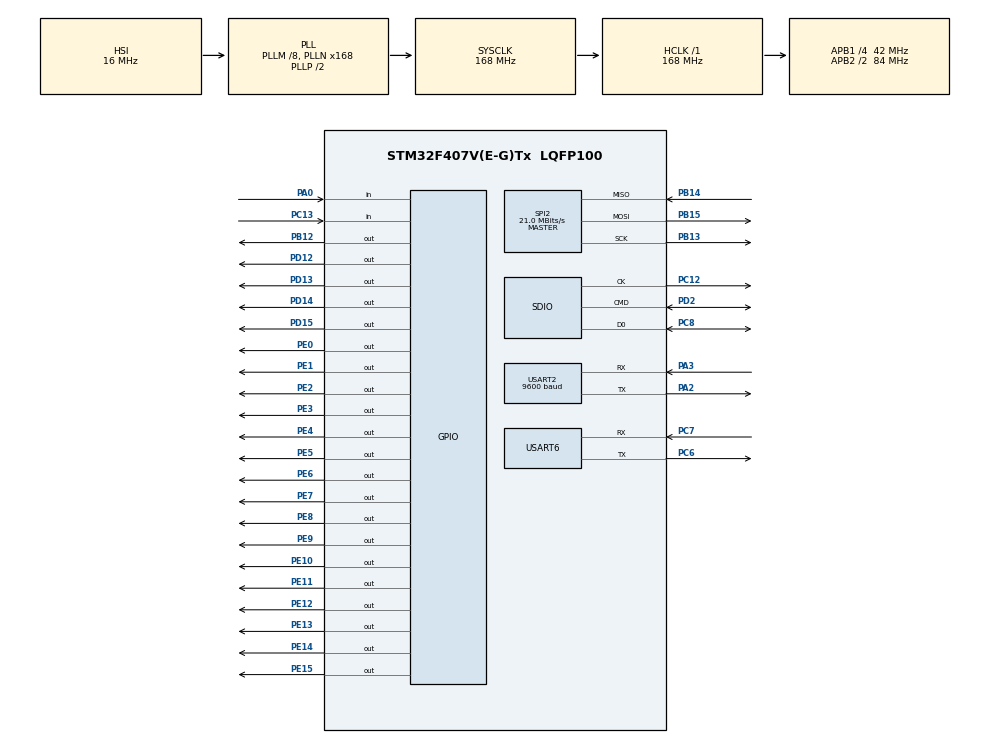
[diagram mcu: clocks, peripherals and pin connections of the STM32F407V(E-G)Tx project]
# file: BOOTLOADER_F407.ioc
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Mcu.Family=STM32F4
Mcu.Name=STM32F407V(E-G)Tx
Mcu.Package=LQFP100
NVIC.PriorityGroup=NVIC_PRIORITYGROUP_4
NVIC.USART6_IRQn=true\:0\:0\:false\:false\:true\:true\:true
PA0-WKUP.Signal=GPIO_Input
PA13.Mode=Serial_Wire
PA13.Signal=SYS_JTMS-SWDIO
PA14.Mode=Serial_Wire
PA14.Signal=SYS_JTCK-SWCLK
PA2.Mode=Asynchronous
PA2.Signal=USART2_TX
PA3.Mode=Asynchronous
PA3.Signal=USART2_RX
PB12.Signal=GPIO_Output
PB13.Mode=Full_Duplex_Master
PB13.Signal=SPI2_SCK
PB14.Mode=Full_Duplex_Master
PB14.Signal=SPI2_MISO
PB15.Mode=Full_Duplex_Master
PB15.Signal=SPI2_MOSI
PC12.Mode=SD_1_bit
PC12.Signal=SDIO_CK
PC13-ANTI_TAMP.GPIO_PuPd=GPIO_NOPULL
PC13-ANTI_TAMP.Signal=GPIO_Input
PC6.Mode=Asynchronous
PC6.Signal=USART6_TX
PC7.Mode=Asynchronous
PC7.Signal=USART6_RX
PC8.Mode=SD_1_bit
PC8.Signal=SDIO_D0
PD12.Signal=GPIO_Output
PD13.Signal=GPIO_Output
PD14.Signal=GPIO_Output
PD15.Signal=GPIO_Output
PD2.Mode=SD_1_bit
PD2.Signal=SDIO_CMD
PE0.Signal=GPIO_Output
PE1.Signal=GPIO_Output
PE10.Signal=GPIO_Output
PE11.Signal=GPIO_Output
PE12.Signal=GPIO_Output
PE13.Signal=GPIO_Output
PE14.Signal=GPIO_Output
PE15.Signal=GPIO_Output
PE2.Signal=GPIO_Output
PE3.Signal=GPIO_Output
PE4.Signal=GPIO_Output
PE5.Signal=GPIO_Output
PE6.Signal=GPIO_Output
PE7.Signal=GPIO_Output
PE8.Signal=GPIO_Output
PE9.Signal=GPIO_Output
PH0-OSC_IN.Mode=HSE-External-Oscillator
PH0-OSC_IN.Signal=RCC_OSC_IN
PH1-OSC_OUT.Mode=HSE-External-Oscillator
PH1-OSC_OUT.Signal=RCC_OSC_OUT
ProjectManager.HeapSize=0x200
ProjectManager.StackSize=0x400
ProjectManager.TargetToolchain=STM32CubeIDE
RCC.48MHZClocksFreq_Value=84000000
RCC.AHBFreq_Value=168000000
RCC.APB1CLKDivider=RCC_HCLK_DIV4
RCC.APB1Freq_Value=42000000
RCC.APB1TimFreq_Value=84000000
RCC.APB2CLKDivider=RCC_HCLK_DIV2
RCC.APB2Freq_Value=84000000
RCC.APB2TimFreq_Value=168000000
RCC.CortexFreq_Value=168000000
RCC.HCLKFreq_Value=168000000
RCC.HSE_VALUE=8000000
RCC.HSI_VALUE=16000000
RCC.LSE_VALUE=32768
RCC.PLLM=8
RCC.PLLN=168
RCC.SYSCLKFreq_VALUE=168000000
RCC.SYSCLKSource=RCC_SYSCLKSOURCE_PLLCLK
RCC.VCOOutputFreq_Value=336000000
SDIO.ClockDiv=2
SPI2.CalculateBaudRate=21.0 MBits/s
SPI2.Direction=SPI_DIRECTION_2LINES
SPI2.Mode=SPI_MODE_MASTER
SPI2.VirtualType=VM_MASTER
TIM1.Prescaler=33600-1
USART2.BaudRate=9600
USART2.VirtualMode=VM_ASYNC
USART6.VirtualMode=VM_ASYNC
VP_FATFS_VS_SDIO.Mode=SDIO
VP_TIM1_VS_ClockSourceINT.Mode=Internal
board=custom

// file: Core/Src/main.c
/* USER CODE BEGIN Header */
/**
  ******************************************************************************
  * @file           : main.c
  * @brief          : Main program body
  ******************************************************************************
  * @attention
  *
  * Copyright (c) 2022 STMicroelectronics.
  * All rights reserved.
  *
  * This software is licensed under terms that can be found in the LICENSE file
  * in the root directory of this software component.
  * If no LICENSE file comes with this software, it is provided AS-IS.
  *
  ******************************************************************************
  */
/* USER CODE END Header */
#include "main.h"
#include "fatfs.h"

/* USER CODE BEGIN Includes */
#include "stdio.h"
#include "string.h"
#include "ed25519.h"
#include "sha3.h"
#include "ge.h"
#include "sc.h"
#include "Frame.h"
#include "My_SDCard.h"
#include "Ex_Flash.h"
#include "W25Qxx.h"
/* USER CODE END Includes */

SD_HandleTypeDef hsd;

SPI_HandleTypeDef hspi2;

TIM_HandleTypeDef htim1;

UART_HandleTypeDef huart2;
UART_HandleTypeDef huart6;

void SystemClock_Config(void);
static void MX_GPIO_Init(void);
static void MX_USART6_UART_Init(void);
static void MX_TIM1_Init(void);
static void MX_SDIO_SD_Init(void);
static void MX_USART2_UART_Init(void);
static void MX_SPI2_Init(void);

/* USER CODE BEGIN 0 */
void Update_Signature(Certificate *cert, uint8_t* signature){
	for(uint8_t index = 0; index < 64; index++){
		cert->signature[index] = signature[index];
	}
}

void Update_Publickey(Certificate *cert, uint8_t* publickey){
	for(uint8_t index = 0;index < 32; index++){
		cert->publickey[index] = publickey[index];
	}
}

void Update_HashValue(Certificate *cert, uint8_t* hashvalue){
	for(uint8_t index = 0;index < 32; index++){
			cert->hash[index] = hashvalue[index];
	}
}

void Update_BootloaderCert(uint8_t* signature, uint8_t* publickey, uint8_t* hashvalue){
	Update_Signature(&Bootloader_Cert, signature);
	Update_Publickey(&Bootloader_Cert, publickey);
	Update_HashValue(&Bootloader_Cert, hashvalue);
}

void Update_Application1Cert(uint8_t* signature, uint8_t* publickey, uint8_t* hashvalue){
	Update_Signature(&Application1_Cert, signature);
	Update_Publickey(&Application1_Cert, publickey);
	Update_HashValue(&Application1_Cert, hashvalue);
}

void Update_Application2Cert(uint8_t* signature, uint8_t* publickey, uint8_t* hashvalue){
	Update_Signature(&Application2_Cert, signature);
	Update_Publickey(&Application2_Cert, publickey);
	Update_HashValue(&Application2_Cert, hashvalue);
}

static void goto_application(uint32_t slotadd)
{
//  printf("Gonna Jump to Application\r\n");

  void (*app_reset_handler)(void) = (void*)(*((volatile uint32_t*) (slotadd + 4U)));

//  __set_MSP(*(volatile uint32_t*) 0x08020000);

  // Turn OFF the Green Led to tell the user that Bootloader is not running
//  HAL_GPIO_WritePin(GPIOB, GPIO_PIN_0, GPIO_PIN_RESET );    //Green LED OFF
  app_reset_handler();    //call the app reset handler
}

uint8_t rx_buf[3] = {0,};
uint8_t count = 0;
uint8_t flag  = 0;
uint8_t rx = 0;
uint8_t rx_header[15] = {0,};
uint8_t buftest[] = "NGUYEN VAN NHI";
uint32_t crc = 0;

void HAL_UART_RxCpltCallback(UART_HandleTypeDef *huart){
	if(huart->Instance == huart6.Instance){
			if(!strncmp("OTA",(char*)rx_buf, 3)){
				flag = 1;
			}
			else{
				HAL_UART_Receive_IT(&huart6, rx_buf, 3);
			}
			memset(rx_buf, 0, 3);
	}
}

uint8_t md[64] = {0,};
uint32_t size = 0;
uint32_t round = 0;
uint8_t signature[64], publickey[32], hashvalue[64];

//uint8_t valid_signature_verify_1 = 0;
//uint8_t valid_signature_verify_2 = 0;
//uint8_t valid_signature_verify_3 = 0;
//uint8_t key_exchange_correct = 0;
//uint16_t clock_create_seed = 0;
//uint16_t clock_create_keypair = 0;
//uint16_t clock_sign = 0;
//uint16_t clock_verify = 0;
//uint16_t clock_add_keypair_scalar = 0;
//uint16_t clock_add_pubkey_scalar = 0;
//uint16_t clock_key_exchange = 0;
//int i;
uint8_t read1[15] = {0,};
uint8_t read2[15] = {0,};
uint8_t read3[15] = {0,};
uint8_t read4[15] = {0,};
uint8_t read5[15] = {0,};
uint8_t buffer1[160] = {0,};
uint8_t buffer2[160] = {0,};
uint8_t buffer3[160] = {0,};
//uint8_t buffer[100] = {0,};
/* USER CODE END 0 */

int main(void)
{

  /* MCU Configuration--------------------------------------------------------*/

  /* Reset of all peripherals, Initializes the Flash interface and the Systick. */
  HAL_Init();

  /* Configure the system clock */
  SystemClock_Config();

  /* Initialize all configured peripherals */
  MX_GPIO_Init();
  MX_USART6_UART_Init();
  MX_TIM1_Init();
  MX_SDIO_SD_Init();
  MX_FATFS_Init();
  MX_USART2_UART_Init();
  MX_SPI2_Init();
  /* USER CODE BEGIN 2 */
  HAL_UART_Receive_IT(&huart6, rx_buf, 3);
  HAL_TIM_Base_Start(&htim1);
  uint16_t time = 0;
  uint32_t total_time = 0;

//  Frame_WriteCfg(&Flash_Cfg);
//  goto_application(FLASH_SLOT_1_ADD);
//  HAL_GPIO_WritePin(GPIOD, GPIO_PIN_12|GPIO_PIN_13|GPIO_PIN_14|GPIO_PIN_15, GPIO_PIN_SET);
//  HAL_Delay(500);
//  goto_application(FLASH_SLOT_1_ADD);
  FATFS fatfs;
  FIL myfile;
  uint8_t buffer[100] = {0,};
//  const char *file_name = "APPLICATION_F407.bin";
//  uint8_t mode = FA_READ;
//  defFlashSlot slot = FLASH_SLOT_0;
//
//
//  HAL_GPIO_WritePin(GPIOD, GPIO_PIN_15, GPIO_PIN_SET);

//  goto_application(FLASH_SLOT_0_ADD);
//  tree_hash(&fatfs,&myfile,"abc.bin", md, &size, &round);
//  sha3(file_name,strlen(file_name), md, 64);

//  uint8_t *write1 = "NGUYEN VAN NHI";
//  uint8_t *write2 = "TRAN TAN TAI";
//  uint8_t *write3 = "TRAN TAN TUAN";
//  uint8_t *write4 = "PHAN TRUNG TIN";
//  uint8_t *write5 = "DUNG MINH TAM";
//
//  Erase(0x00000, (Erase_Type)SECTOR_ERASE);
//  HAL_Delay(10);
//
//  WriteFlash(0x000000, write1, strlen(write1));
//  WriteFlash(0x000000 + strlen(write1), write2, strlen(write2));
//  WriteFlash(0x000000 + strlen(write1) + strlen(write2), write3, strlen(write3));
//  WriteFlash(0x000000 + strlen(write1) + strlen(write2) + strlen(write3), write4, strlen(write4));
//  WriteFlash(0x000000 + strlen(write1) + strlen(write2) + strlen(write3) + strlen(write4), write5, strlen(write5));
//
//  HAL_Delay(1000);
//  ReadFlash(0x000000, read1, strlen(write1));
//  ReadFlash(0x000000 + strlen(write1), read2, strlen(write2));
//  ReadFlash(0x000000 + strlen(write1) + strlen(write2), read3, strlen(write3));
//  ReadFlash(0x000000 + strlen(write1) + strlen(write2) + strlen(write3), read4, strlen(write4));
//  ReadFlash(0x000000 + strlen(write1) + strlen(write2) + strlen(write3) + strlen(write4), read5, strlen(write5));
//  	  for(uint8_t i = 0;i<64;i++){
//  		  Bootloader_Cert.signature[i] = i + 1;
//  		  Application1_Cert.signature[i] = i + 2;
//  		  Application2_Cert.signature[i] = i + 3;
//  		  Bootloader_Cert.hash[i] = i + 4;
//  		  Application1_Cert.hash[i] = i + 5;
//  		  Application2_Cert.hash[i] = i + 6;
//  	  }
//  	  for (uint8_t i = 0;i<32;i++){
//  		  Bootloader_Cert.publickey[i] = i + 7;
//  		  Application1_Cert.publickey[i] = i + 8;
//  		  Application2_Cert.publickey[i] = i + 9;
//  	  }
//  		W25qxx_Init();
//  		W25qxx_EraseSector(1);
//  		W25qxx_WriteSector(Bootloader_Cert.signature, 1, 0, 64);
//  		W25qxx_WriteSector(Bootloader_Cert.publickey, 1, 64, 32);
//  		W25qxx_WriteSector(Bootloader_Cert.hash, 1, 96, 64);
//  		W25qxx_ReadSector(buffer1, 1, 0, 160);
//  		W25qxx_EraseSector(1);
//  		memset(buff2, 0, sizeof(buff2));
//  		W25qxx_ReadSector(buff2, 1, 0, 8);

//  uint8_t sig[64], pub[32], has[64];
//  W25qxx_Init();
//    	  for(uint8_t i = 0;i<64;i++){
//    		  sig[i] = i + 1;
//    		  has[i] = i + 2;
//
//    	  }
//    	  for (uint8_t i = 0;i<32;i++){
//    		  pub[i] = i + 3;
//    	  }
//
//    	  Update_BootloaderCert(sig, pub, has);
//  W25qxx_EraseSector(1);
//  W25qxx_WriteSector(Bootloader_Cert.signature, 1, 0, 64);
//  W25qxx_WriteSector(Bootloader_Cert.publickey, 1, 64, 32);
//  W25qxx_WriteSector(Bootloader_Cert.hash, 1, 96, 64);
//
//  W25qxx_ReadSector(buffer, 1, 0, 160);
  uint8_t sig[64], pub[32], hashval[64];

//  W25qxx_Init();
//  W25qxx_EraseSector(2);
//  read_file_and_store_into_flash(&fatfs,&myfile,"appa.bin", FA_READ, FLASH_SLOT_1, signature, publickey, hashvalue);
//  W25qxx_WriteSector(signature, 2, 0, 64);
//  W25qxx_WriteSector(publickey, 2, 64, 32);
//  W25qxx_WriteSector(hashvalue, 2, 64 + 32, 64);
//  HAL_Delay(1000);
//  W25qxx_ReadSector(signature, 2, 0, 64);
//  W25qxx_ReadSector(publickey, 2, 64, 32);
//  W25qxx_ReadSector(hashvalue, 2, 96, 64);
//  HAL_Delay(1000);
  /* USER CODE END 2 */

  /* Infinite loop */
  while (1)
  {

    /* USER CODE BEGIN 3 */
////	  HAL_GPIO_TogglePin(GPIOE, GPIO_PIN_12);
//	  if((defResetCause)Flash_Cfg.ResetCause == RESET_NORMAL){
////		  HAL_GPIO_WritePin(GPIOE, GPIO_PIN_12|GPIO_PIN_13|GPIO_PIN_14|GPIO_PIN_15, GPIO_PIN_SET);
//		  if(Flash_Cfg.FlashOnGoing == FLASH_SLOT_0) goto_application(FLASH_SLOT_0_ADD);
//		  else if(Flash_Cfg.FlashOnGoing == FLASH_SLOT_1) goto_application(FLASH_SLOT_1_ADD);
//		  else{
//
//		  }
//	  }
//	  else if((defResetCause)Flash_Cfg.ResetCause == RESET_OTA){
//		  if(flag == 1){
//			  {
//				  Flash_Cfg.ResetCause = RESET_NORMAL;
//				  if(Flash_Cfg.FlashOnGoing == FLASH_SLOT_0){
//					  HAL_GPIO_TogglePin(GPIOE, GPIO_PIN_12);
//					  if(Frame_STM32OTA(FLASH_SLOT_2) == HANDLE_OK) {
//						  Flash_Cfg.FlashOnGoing = FLASH_SLOT_1;
//						  Frame_WriteCfg(&Flash_Cfg);
//						  Frame_LoadFlash(FLASH_SLOT_1);
//						  HAL_GPIO_TogglePin(GPIOE, GPIO_PIN_12|GPIO_PIN_15);
////						  HAL_Delay(500);
//						  goto_application(FLASH_SLOT_1_ADD);
//					  }
//					  else{
//						  Frame_WriteCfg(&Flash_Cfg);
//						  goto_application(FLASH_SLOT_0_ADD);
//					  }
//				  }
//				  else if(Flash_Cfg.FlashOnGoing == FLASH_SLOT_1){
//					  HAL_GPIO_TogglePin(GPIOE, GPIO_PIN_12);
//					  if(Frame_STM32OTA(FLASH_SLOT_2) == HANDLE_OK) {
//						  Flash_Cfg.FlashOnGoing = FLASH_SLOT_0;
//						  Frame_WriteCfg(&Flash_Cfg);
//						  Frame_LoadFlash(FLASH_SLOT_0);
//						  HAL_GPIO_TogglePin(GPIOE, GPIO_PIN_12|GPIO_PIN_15);
//						  goto_application(FLASH_SLOT_0_ADD);
//					  }
//					  else{
//						  Frame_WriteCfg(&Flash_Cfg);
//						  goto_application(FLASH_SLOT_1_ADD);
//					  }
//				  }
//				flag = 0;
//			  }
//		  }
//	  }
//	  else{
//		  goto_application(FLASH_SLOT_0_ADD);
//	  }

//
	  HAL_UART_Transmit(&huart2, "\r*****THIS IS BOOTLOADER PROGRAM*****\n\r", 39, 1000);
	  Frame_ReadCfg(&Flash_Cfg);
	  if((defResetCause)Flash_Cfg.ResetCause == RESET_NORMAL){
		  if(Flash_Cfg.FlashOnGoing == FLASH_SLOT_1){
			  W25qxx_Init();
			  W25qxx_ReadSector(sig, 2, 0, 64);
			  W25qxx_ReadSector(pub, 2, 64, 32);
			  W25qxx_ReadSector(hashval, 2, 64 + 32, 64);
			  int size_file = read_file_and_store_into_flash(&fatfs,&myfile,"appa.bin", FA_READ, FLASH_SLOT_1, signature, publickey, hashvalue);
			  tree_hash_on_flash(FLASH_SLOT_1, md,size_file, &round);
			  if (ed25519_verify(sig, md, 64, pub)) {
				  HAL_UART_Transmit(&huart2, "\r*****APPLICATION1 IS RUNNING*****\n\r", 39, 1000);
				  goto_application(FLASH_SLOT_1_ADD);
			  }
		  }

		  if(Flash_Cfg.FlashOnGoing == FLASH_SLOT_2){
			  W25qxx_Init();
			  W25qxx_ReadSector(sig, 3, 0, 64);
			  W25qxx_ReadSector(pub, 3, 64, 32);
			  W25qxx_ReadSector(hashval, 3, 64 + 32, 64);
			  int size_file = read_file_and_store_into_flash(&fatfs,&myfile,"appb.bin", FA_READ, FLASH_SLOT_2, signature, publickey, hashvalue);
			  tree_hash_on_flash(FLASH_SLOT_2, md,size_file, &round);
			  if (ed25519_verify(sig, md, 64, pub)) {
				  HAL_UART_Transmit(&huart2, "\r*****APPLICATION2 IS RUNNING*****\n\r", 39, 1000);
				  goto_application(FLASH_SLOT_2_ADD);
			  }
		  }

	  }
	  else if((defResetCause)Flash_Cfg.ResetCause == RESET_OTA){
		  while(flag == 0);
		  if(flag == 1){
			  {
				  HAL_UART_Transmit(&huart2, "\r       UPDATING OTA...\n\r", 25, 1000);
				  Flash_Cfg.ResetCause = RESET_NORMAL;
				  if(Flash_Cfg.FlashOnGoing == FLASH_SLOT_1){
					  TIM1->CNT = 0;
					  if(ota_and_write_to_sd_card(&fatfs, &myfile, "appb.bin", FA_WRITE|FA_CREATE_ALWAYS) == HAL_OK) {
						  time = TIM1->CNT;
						  total_time += time;
						  HAL_UART_Transmit(&huart2, "\r       OTA SUCCESSFULL !!!\n\r", 29, 1000);
						  sprintf(buffer,"\r            -TIME: %.2f\n\r", (float)time/5.0);
						  HAL_UART_Transmit(&huart2, buffer, 25, 1000);
						  memset(buffer, 0, 100);

						  TIM1->CNT = 0;
						  int size_file = read_file_and_store_into_flash(&fatfs,&myfile,"appb.bin", FA_READ, FLASH_SLOT_2, signature, publickey, hashvalue);
						  time = TIM1->CNT;
						  total_time += time;
						  HAL_UART_Transmit(&huart2, "\r       -READ APPLICATION2 AND STORE IN FLASH\n\r", 50, 1000);
						  sprintf(buffer, "\r              +SIZE: %d BYTES\n\r              +TIME: %.2f(MS)\n\r", size_file, (float)time/5.0);
						  HAL_UART_Transmit(&huart2, buffer, 100, 1000);
						  memset(buffer, 0, 100);

						  TIM1->CNT = 0;
						  tree_hash_on_flash(FLASH_SLOT_2, md,size_file, &round);
						  time = TIM1->CNT;
						  total_time += time;
						  HAL_UART_Transmit(&huart2, "\r       -TREE HASH IN FLASH\n\r", 28, 1000);
						  sprintf(buffer, "\r              +TIME: %.2f(MS)\n\r", (float)time/5.0);
						  HAL_UART_Transmit(&huart2, buffer, 40, 1000);
						  memset(buffer, 0, 100);

						  TIM1->CNT = 0;
						  if (ed25519_verify(signature, md, 64, publickey)) {

							  W25qxx_Init();
							  W25qxx_EraseSector(3);
							  Update_Application2Cert(signature, publickey, hashvalue);
							  W25qxx_WriteSector(Application2_Cert.signature, 3, 0, 64);
							  W25qxx_WriteSector(Application2_Cert.publickey, 3, 0 + 64, 32);
							  W25qxx_WriteSector(Application2_Cert.hash, 3, 0 + 32 + 64, 64);

							  time = TIM1->CNT;
							  total_time += time;
							  HAL_UART_Transmit(&huart2, "\r       -VERIFY APPLICATION2 SUCCESSFULL\n\r", 60, 1000);
							  sprintf(buffer, "\r              +TIME: %.2f(MS)\n\r", (float)time/5.0);
							  HAL_UART_Transmit(&huart2, buffer, 40, 1000);
							  sprintf(buffer, "\r       -TOTAL TIME: %.2f(MS)\n\r", (float)total_time/5.0);
							  HAL_UART_Transmit(&huart2, buffer, 40, 1000);

							  HAL_UART_Transmit(&huart2, "\r*****APPLICATION2 IS RUNNING*****\n\r", 50, 1000);

							  HAL_GPIO_WritePin(GPIOD, GPIO_PIN_13, GPIO_PIN_SET);
							  Flash_Cfg.FlashOnGoing = FLASH_SLOT_2;
							  Frame_WriteCfg(&Flash_Cfg);
							  goto_application(FLASH_SLOT_2_ADD);
						  } else {
							  Frame_WriteCfg(&Flash_Cfg);
							  goto_application(FLASH_SLOT_1_ADD);
						  }

					  }
					  else{
						  Frame_WriteCfg(&Flash_Cfg);
						  goto_application(FLASH_SLOT_1_ADD);
					  }
				  }
				  else if(Flash_Cfg.FlashOnGoing == FLASH_SLOT_2){
					  TIM1->CNT = 0;
					  if(ota_and_write_to_sd_card(&fatfs, &myfile, "appa.bin", FA_WRITE|FA_CREATE_ALWAYS) == HAL_OK) {
						  time = TIM1->CNT;
						  total_time += time;
						  HAL_UART_Transmit(&huart2, "\r       OTA SUCCESSFULL !!!\n\r", 29, 1000);
						  sprintf(buffer,"\r            -TIME: %.2f\n\r", (float)time/5.0);
						  HAL_UART_Transmit(&huart2, buffer, 30, 1000);
						  memset(buffer, 0, 100);

						  TIM1->CNT = 0;
						  int size_file = read_file_and_store_into_flash(&fatfs,&myfile,"appa.bin", FA_READ, FLASH_SLOT_1, signature, publickey, hashvalue);
						  time = TIM1->CNT;
						  total_time += time;
						  HAL_UART_Transmit(&huart2, "\r       -READ APPLICATION1 AND STORE IN FLASH\n\r", 50, 1000);
						  sprintf(buffer, "\r              +SIZE: %d BYTES\n\r              +TIME: %.2f(MS)\n\r", size_file, (float)time/5.0);
						  HAL_UART_Transmit(&huart2, buffer, 100, 1000);
						  memset(buffer, 0, 100);

						  TIM1->CNT = 0;
						  tree_hash_on_flash(FLASH_SLOT_1, md,size_file, &round);
						  time = TIM1->CNT;
						  total_time += time;
						  HAL_UART_Transmit(&huart2, "\r       -TREE HASH IN FLASH\n\r", 28, 1000);
						  sprintf(buffer, "\r              +TIME: %.2f(MS)\n\r", (float)time/5.0);
						  HAL_UART_Transmit(&huart2, buffer, 40, 1000);
						  memset(buffer, 0, 100);

						  TIM1->CNT = 0;
						  if (ed25519_verify(signature, md, 64, publickey)) {

							  W25qxx_Init();
							  W25qxx_EraseSector(2);
							  Update_Application1Cert(signature, publickey, hashvalue);
							  W25qxx_WriteSector(Application1_Cert.signature, 2, 0, 64);
							  W25qxx_WriteSector(Application1_Cert.publickey, 2, 0 + 64, 32);
							  W25qxx_WriteSector(Application1_Cert.hash, 2, 0 + 32 + 64, 64);

							  time = TIM1->CNT;
							  total_time += time;
							  HAL_UART_Transmit(&huart2, "\r       -VERIFY APPLICATION2 SUCCESSFULL\n\r", 60, 1000);
							  sprintf(buffer, "\r              +TIME: %.2f(MS)\n\r", (float)time/5.0);
							  HAL_UART_Transmit(&huart2, buffer, 40, 1000);
							  sprintf(buffer, "\r       -TOTAL TIME: %.2f(MS)\n\r", (float)total_time/5.0);
							  HAL_UART_Transmit(&huart2, buffer, 40, 1000);

							  HAL_UART_Transmit(&huart2, "\r*****APPLICATION1 IS RUNNING*****\n\r", 50, 1000);

							  HAL_GPIO_WritePin(GPIOD, GPIO_PIN_13, GPIO_PIN_SET);
							  Flash_Cfg.FlashOnGoing = FLASH_SLOT_1;
							  Frame_WriteCfg(&Flash_Cfg);
							  goto_application(FLASH_SLOT_1_ADD);
						  } else {
							  Frame_WriteCfg(&Flash_Cfg);
							  goto_application(FLASH_SLOT_2_ADD);
						  }
					  }
					  else{
						  Frame_WriteCfg(&Flash_Cfg);
						  goto_application(FLASH_SLOT_2_ADD);
					  }
				  }
				flag = 0;
			  }
		  }
	  }
	  else{
		  goto_application(FLASH_SLOT_1_ADD);
	  }

  }
  /* USER CODE END 3 */
}

void SystemClock_Config(void)
{
  RCC_OscInitTypeDef RCC_OscInitStruct = {0};
  RCC_ClkInitTypeDef RCC_ClkInitStruct = {0};

  /** Configure the main internal regulator output voltage
  */
  __HAL_RCC_PWR_CLK_ENABLE();
  __HAL_PWR_VOLTAGESCALING_CONFIG(PWR_REGULATOR_VOLTAGE_SCALE1);
  /** Initializes the RCC Oscillators according to the specified parameters
  * in the RCC_OscInitTypeDef structure.
  */
  RCC_OscInitStruct.OscillatorType = RCC_OSCILLATORTYPE_HSI;
  RCC_OscInitStruct.HSIState = RCC_HSI_ON;
  RCC_OscInitStruct.HSICalibrationValue = RCC_HSICALIBRATION_DEFAULT;
  RCC_OscInitStruct.PLL.PLLState = RCC_PLL_ON;
  RCC_OscInitStruct.PLL.PLLSource = RCC_PLLSOURCE_HSI;
  RCC_OscInitStruct.PLL.PLLM = 8;
  RCC_OscInitStruct.PLL.PLLN = 168;
  RCC_OscInitStruct.PLL.PLLP = RCC_PLLP_DIV2;
  RCC_OscInitStruct.PLL.PLLQ = 4;
  if (HAL_RCC_OscConfig(&RCC_OscInitStruct) != HAL_OK)
  {
    Error_Handler();
  }
  /** Initializes the CPU, AHB and APB buses clocks
  */
  RCC_ClkInitStruct.ClockType = RCC_CLOCKTYPE_HCLK|RCC_CLOCKTYPE_SYSCLK
                              |RCC_CLOCKTYPE_PCLK1|RCC_CLOCKTYPE_PCLK2;
  RCC_ClkInitStruct.SYSCLKSource = RCC_SYSCLKSOURCE_PLLCLK;
  RCC_ClkInitStruct.AHBCLKDivider = RCC_SYSCLK_DIV1;
  RCC_ClkInitStruct.APB1CLKDivider = RCC_HCLK_DIV4;
  RCC_ClkInitStruct.APB2CLKDivider = RCC_HCLK_DIV2;

  if (HAL_RCC_ClockConfig(&RCC_ClkInitStruct, FLASH_LATENCY_5) != HAL_OK)
  {
    Error_Handler();
  }
}

static void MX_SDIO_SD_Init(void)
{

  hsd.Instance = SDIO;
  hsd.Init.ClockEdge = SDIO_CLOCK_EDGE_RISING;
  hsd.Init.ClockBypass = SDIO_CLOCK_BYPASS_DISABLE;
  hsd.Init.ClockPowerSave = SDIO_CLOCK_POWER_SAVE_DISABLE;
  hsd.Init.BusWide = SDIO_BUS_WIDE_1B;
  hsd.Init.HardwareFlowControl = SDIO_HARDWARE_FLOW_CONTROL_DISABLE;
  hsd.Init.ClockDiv = 2;

}

static void MX_SPI2_Init(void)
{

  /* SPI2 parameter configuration*/
  hspi2.Instance = SPI2;
  hspi2.Init.Mode = SPI_MODE_MASTER;
  hspi2.Init.Direction = SPI_DIRECTION_2LINES;
  hspi2.Init.DataSize = SPI_DATASIZE_8BIT;
  hspi2.Init.CLKPolarity = SPI_POLARITY_LOW;
  hspi2.Init.CLKPhase = SPI_PHASE_1EDGE;
  hspi2.Init.NSS = SPI_NSS_SOFT;
  hspi2.Init.BaudRatePrescaler = SPI_BAUDRATEPRESCALER_2;
  hspi2.Init.FirstBit = SPI_FIRSTBIT_MSB;
  hspi2.Init.TIMode = SPI_TIMODE_DISABLE;
  hspi2.Init.CRCCalculation = SPI_CRCCALCULATION_DISABLE;
  hspi2.Init.CRCPolynomial = 10;
  if (HAL_SPI_Init(&hspi2) != HAL_OK)
  {
    Error_Handler();
  }

}

static void MX_TIM1_Init(void)
{

  TIM_ClockConfigTypeDef sClockSourceConfig = {0};
  TIM_MasterConfigTypeDef sMasterConfig = {0};

  htim1.Instance = TIM1;
  htim1.Init.Prescaler = 33600-1;
  htim1.Init.CounterMode = TIM_COUNTERMODE_UP;
  htim1.Init.Period = 65535;
  htim1.Init.ClockDivision = TIM_CLOCKDIVISION_DIV1;
  htim1.Init.RepetitionCounter = 0;
  htim1.Init.AutoReloadPreload = TIM_AUTORELOAD_PRELOAD_DISABLE;
  if (HAL_TIM_Base_Init(&htim1) != HAL_OK)
  {
    Error_Handler();
  }
  sClockSourceConfig.ClockSource = TIM_CLOCKSOURCE_INTERNAL;
  if (HAL_TIM_ConfigClockSource(&htim1, &sClockSourceConfig) != HAL_OK)
  {
    Error_Handler();
  }
  sMasterConfig.MasterOutputTrigger = TIM_TRGO_RESET;
  sMasterConfig.MasterSlaveMode = TIM_MASTERSLAVEMODE_DISABLE;
  if (HAL_TIMEx_MasterConfigSynchronization(&htim1, &sMasterConfig) != HAL_OK)
  {
    Error_Handler();
  }

}

static void MX_USART2_UART_Init(void)
{

  huart2.Instance = USART2;
  huart2.Init.BaudRate = 9600;
  huart2.Init.WordLength = UART_WORDLENGTH_8B;
  huart2.Init.StopBits = UART_STOPBITS_1;
  huart2.Init.Parity = UART_PARITY_NONE;
  huart2.Init.Mode = UART_MODE_TX_RX;
  huart2.Init.HwFlowCtl = UART_HWCONTROL_NONE;
  huart2.Init.OverSampling = UART_OVERSAMPLING_16;
  if (HAL_UART_Init(&huart2) != HAL_OK)
  {
    Error_Handler();
  }

}

static void MX_USART6_UART_Init(void)
{

  huart6.Instance = USART6;
  huart6.Init.BaudRate = 115200;
  huart6.Init.WordLength = UART_WORDLENGTH_8B;
  huart6.Init.StopBits = UART_STOPBITS_1;
  huart6.Init.Parity = UART_PARITY_NONE;
  huart6.Init.Mode = UART_MODE_TX_RX;
  huart6.Init.HwFlowCtl = UART_HWCONTROL_NONE;
  huart6.Init.OverSampling = UART_OVERSAMPLING_16;
  if (HAL_UART_Init(&huart6) != HAL_OK)
  {
    Error_Handler();
  }

}

static void MX_GPIO_Init(void)
{
  GPIO_InitTypeDef GPIO_InitStruct = {0};

  /* GPIO Ports Clock Enable */
  __HAL_RCC_GPIOE_CLK_ENABLE();
  __HAL_RCC_GPIOC_CLK_ENABLE();
  __HAL_RCC_GPIOH_CLK_ENABLE();
  __HAL_RCC_GPIOA_CLK_ENABLE();
  __HAL_RCC_GPIOB_CLK_ENABLE();
  __HAL_RCC_GPIOD_CLK_ENABLE();

  /*Configure GPIO pin Output Level */
  HAL_GPIO_WritePin(GPIOE, GPIO_PIN_2|GPIO_PIN_3|GPIO_PIN_4|GPIO_PIN_5
                          |GPIO_PIN_6|GPIO_PIN_7|GPIO_PIN_8|GPIO_PIN_9
                          |GPIO_PIN_10|GPIO_PIN_11|GPIO_PIN_12|GPIO_PIN_13
                          |GPIO_PIN_14|GPIO_PIN_15|GPIO_PIN_0|GPIO_PIN_1, GPIO_PIN_RESET);

  /*Configure GPIO pin Output Level */
  HAL_GPIO_WritePin(GPIOB, GPIO_PIN_12, GPIO_PIN_RESET);

  /*Configure GPIO pin Output Level */
  HAL_GPIO_WritePin(GPIOD, GPIO_PIN_12|GPIO_PIN_13|GPIO_PIN_14|GPIO_PIN_15, GPIO_PIN_RESET);

  /*Configure GPIO pins : PE2 PE3 PE4 PE5
                           PE6 PE7 PE8 PE9
                           PE10 PE11 PE12 PE13
                           PE14 PE15 PE0 PE1 */
  GPIO_InitStruct.Pin = GPIO_PIN_2|GPIO_PIN_3|GPIO_PIN_4|GPIO_PIN_5
                          |GPIO_PIN_6|GPIO_PIN_7|GPIO_PIN_8|GPIO_PIN_9
                          |GPIO_PIN_10|GPIO_PIN_11|GPIO_PIN_12|GPIO_PIN_13
                          |GPIO_PIN_14|GPIO_PIN_15|GPIO_PIN_0|GPIO_PIN_1;
  GPIO_InitStruct.Mode = GPIO_MODE_OUTPUT_PP;
  GPIO_InitStruct.Pull = GPIO_NOPULL;
  GPIO_InitStruct.Speed = GPIO_SPEED_FREQ_LOW;
  HAL_GPIO_Init(GPIOE, &GPIO_InitStruct);

  /*Configure GPIO pin : PC13 */
  GPIO_InitStruct.Pin = GPIO_PIN_13;
  GPIO_InitStruct.Mode = GPIO_MODE_INPUT;
  GPIO_InitStruct.Pull = GPIO_NOPULL;
  HAL_GPIO_Init(GPIOC, &GPIO_InitStruct);

  /*Configure GPIO pin : PA0 */
  GPIO_InitStruct.Pin = GPIO_PIN_0;
  GPIO_InitStruct.Mode = GPIO_MODE_INPUT;
  GPIO_InitStruct.Pull = GPIO_NOPULL;
  HAL_GPIO_Init(GPIOA, &GPIO_InitStruct);

  /*Configure GPIO pin : PB12 */
  GPIO_InitStruct.Pin = GPIO_PIN_12;
  GPIO_InitStruct.Mode = GPIO_MODE_OUTPUT_PP;
  GPIO_InitStruct.Pull = GPIO_NOPULL;
  GPIO_InitStruct.Speed = GPIO_SPEED_FREQ_LOW;
  HAL_GPIO_Init(GPIOB, &GPIO_InitStruct);

  /*Configure GPIO pins : PD12 PD13 PD14 PD15 */
  GPIO_InitStruct.Pin = GPIO_PIN_12|GPIO_PIN_13|GPIO_PIN_14|GPIO_PIN_15;
  GPIO_InitStruct.Mode = GPIO_MODE_OUTPUT_PP;
  GPIO_InitStruct.Pull = GPIO_NOPULL;
  GPIO_InitStruct.Speed = GPIO_SPEED_FREQ_LOW;
  HAL_GPIO_Init(GPIOD, &GPIO_InitStruct);

}

void Error_Handler(void)
{
  __disable_irq();
  while (1)
  {
  }
}
